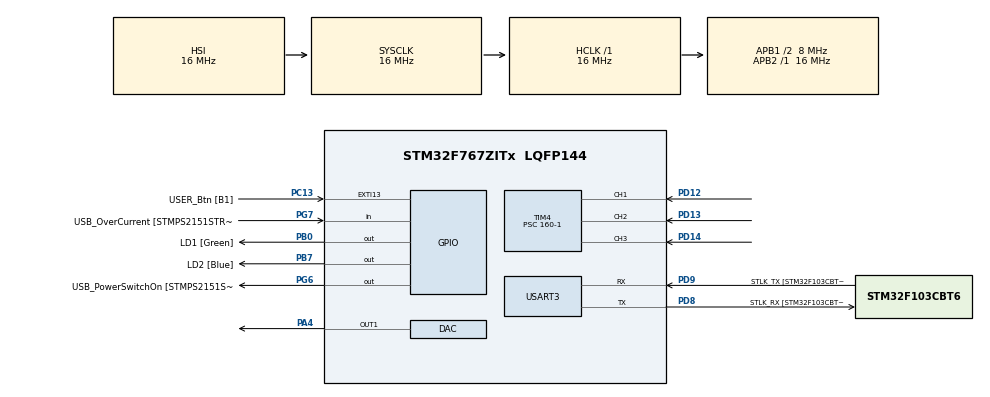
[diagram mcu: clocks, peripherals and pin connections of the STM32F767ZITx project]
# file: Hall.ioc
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Dma.Request0=TIM4_UP
Dma.TIM4_UP.0.Direction=DMA_PERIPH_TO_MEMORY
Dma.TIM4_UP.0.FIFOMode=DMA_FIFOMODE_DISABLE
Dma.TIM4_UP.0.Instance=DMA1_Stream6
Dma.TIM4_UP.0.MemDataAlignment=DMA_MDATAALIGN_HALFWORD
Dma.TIM4_UP.0.MemInc=DMA_MINC_ENABLE
Dma.TIM4_UP.0.Mode=DMA_CIRCULAR
Dma.TIM4_UP.0.PeriphDataAlignment=DMA_PDATAALIGN_HALFWORD
Dma.TIM4_UP.0.PeriphInc=DMA_PINC_DISABLE
Dma.TIM4_UP.0.Priority=DMA_PRIORITY_LOW
Mcu.Family=STM32F7
Mcu.Name=STM32F767ZITx
Mcu.Package=LQFP144
NVIC.DMA1_Stream6_IRQn=true\:0\:0\:false\:false\:true\:false\:true\:true
NVIC.EXTI15_10_IRQn=true\:0\:0\:false\:false\:true\:true\:true\:true
NVIC.PriorityGroup=NVIC_PRIORITYGROUP_4
NVIC.USART3_IRQn=true\:0\:0\:false\:false\:true\:true\:true\:true
PA1.GPIO_Label=RMII_REF_CLK [LAN8742A-CZ-TR_REFCLK0]
PA1.Signal=ETH_REF_CLK
PA10.GPIO_Label=USB_ID
PA10.Signal=USB_OTG_FS_ID
PA11.GPIO_Label=USB_DM
PA11.Signal=USB_OTG_FS_DM
PA12.GPIO_Label=USB_DP
PA12.Signal=USB_OTG_FS_DP
PA13.GPIO_Label=TMS
PA13.Mode=Serial_Wire
PA13.Signal=SYS_JTMS-SWDIO
PA14.GPIO_Label=TCK
PA14.Mode=Serial_Wire
PA14.Signal=SYS_JTCK-SWCLK
PA2.GPIO_Label=RMII_MDIO [LAN8742A-CZ-TR_MDIO]
PA2.Signal=ETH_MDIO
PA4.Signal=COMP_DAC1_group
PA7.GPIO_Label=RMII_CRS_DV [LAN8742A-CZ-TR_CRS_DV]
PA7.Signal=ETH_CRS_DV
PA8.GPIO_Label=USB_SOF [TP1]
PA8.Signal=USB_OTG_FS_SOF
PA9.GPIO_Label=USB_VBUS
PA9.Signal=USB_OTG_FS_VBUS
PB0.GPIO_Label=LD1 [Green]
PB0.Signal=GPIO_Output
PB13.GPIO_Label=RMII_TXD1 [LAN8742A-CZ-TR_TXD1]
PB13.Signal=ETH_TXD1
PB3.GPIO_Label=SW0
PB3.Signal=SYS_JTDO-SWO
PB7.GPIO_Label=LD2 [Blue]
PB7.Signal=GPIO_Output
PC1.GPIO_Label=RMII_MDC [LAN8742A-CZ-TR_MDC]
PC1.Signal=ETH_MDC
PC13.GPIO_Label=USER_Btn [B1]
PC13.GPIO_ModeDefaultEXTI=GPIO_MODE_IT_RISING
PC13.Signal=GPXTI13
PC14/OSC32_IN.Signal=RCC_OSC32_IN
PC15/OSC32_OUT.Signal=RCC_OSC32_OUT
PC4.GPIO_Label=RMII_RXD0 [LAN8742A-CZ-TR_RXD0]
PC4.Signal=ETH_RXD0
PC5.GPIO_Label=RMII_RXD1 [LAN8742A-CZ-TR_RXD1]
PC5.Signal=ETH_RXD1
PD12.GPIO_PuPd=GPIO_PULLUP
PD12.Signal=S_TIM4_CH1
PD13.GPIO_PuPd=GPIO_PULLUP
PD13.Signal=S_TIM4_CH2
PD14.GPIO_PuPd=GPIO_PULLUP
PD14.Signal=S_TIM4_CH3
PD8.GPIO_Label=STLK_RX [STM32F103CBT6_PA3]
PD8.Mode=Asynchronous
PD8.Signal=USART3_TX
PD9.GPIO_Label=STLK_TX [STM32F103CBT6_PA2]
PD9.Mode=Asynchronous
PD9.Signal=USART3_RX
PG11.GPIO_Label=RMII_TX_EN [LAN8742A-CZ-TR_TXEN]
PG11.Signal=ETH_TX_EN
PG13.GPIO_Label=RMII_TXD0 [LAN8742A-CZ-TR_TXD0]
PG13.Signal=ETH_TXD0
PG6.GPIO_Label=USB_PowerSwitchOn [STMPS2151STR_EN]
PG6.Signal=GPIO_Output
PG7.GPIO_Label=USB_OverCurrent [STMPS2151STR_FAULT]
PG7.Signal=GPIO_Input
PH0/OSC_IN.GPIO_Label=MCO [STM32F103CBT6_PA8]
PH0/OSC_IN.Signal=RCC_OSC_IN
PH1/OSC_OUT.Signal=RCC_OSC_OUT
ProjectManager.HeapSize=0x200
ProjectManager.StackSize=0x400
ProjectManager.TargetToolchain=STM32CubeIDE
RCC.48MHZClocksFreq_Value=24000000
RCC.AHBFreq_Value=16000000
RCC.APB1CLKDivider=RCC_HCLK_DIV2
RCC.APB1Freq_Value=8000000
RCC.APB1TimFreq_Value=16000000
RCC.APB2Freq_Value=16000000
RCC.APB2TimFreq_Value=16000000
RCC.CortexFreq_Value=16000000
RCC.HCLKFreq_Value=16000000
RCC.HSE_VALUE=16000000
RCC.HSI_VALUE=16000000
RCC.LSE_VALUE=32768
RCC.PLLMUL=RCC_PLL_MUL9
RCC.PRESCALERUSB=RCC_USBCLKSOURCE_PLL_DIV1_5
RCC.SYSCLKFreq_VALUE=16000000
RCC.SYSCLKSourceVirtual=RCC_SYSCLKSOURCE_PLLCLK
RCC.USBFreq_Value=96000000
RCC.VCOOutputFreq_Value=192000000
SH.COMP_DAC1_group.0=DAC_OUT1,DAC_OUT1
SH.S_TIM4_CH1.0=TIM4_CH1,Xored_Inputs_Hall_Sensor_Interface
SH.S_TIM4_CH2.0=TIM4_CH2,Xored_Inputs_Hall_Sensor_Interface
SH.S_TIM4_CH3.0=TIM4_CH3,Xored_Inputs_Hall_Sensor_Interface
TIM4.IC1Filter=15
TIM4.IC1Polarity=TIM_ICPOLARITY_FALLING
TIM4.Prescaler=160-1
USART3.VirtualMode-Asynchronous=VM_ASYNC
board=NUCLEO-F767ZI

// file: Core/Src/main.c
/* USER CODE BEGIN Header */
/**
 ******************************************************************************
 * @file           : main.c
 * @brief          : Main program body
 ******************************************************************************
 * @attention
 *
 * Copyright (c) 2022 STMicroelectronics.
 * All rights reserved.
 *
 * This software is licensed under terms that can be found in the LICENSE file
 * in the root directory of this software component.
 * If no LICENSE file comes with this software, it is provided AS-IS.
 *
 ******************************************************************************
 */
/* USER CODE END Header */
#include "main.h"

DAC_HandleTypeDef hdac;

TIM_HandleTypeDef htim4;
DMA_HandleTypeDef hdma_tim4_up;

UART_HandleTypeDef huart3;

void SystemClock_Config(void);
static void MX_GPIO_Init(void);
static void MX_USART3_UART_Init(void);
static void MX_DMA_Init(void);
static void MX_TIM4_Init(void);
static void MX_DAC_Init(void);

/* USER CODE BEGIN 0 */

#ifdef __GNUC__
#define PUTCHAR_PROTOTYPE int __io_putchar(int ch)
#else
#define PUTCHAR_PROTOTYPE int fputc(int ch, FILE *f)
#endif

PUTCHAR_PROTOTYPE {
	if (ch == '\n')
		HAL_UART_Transmit(&huart3, (uint8_t*) "\r", 1, 0xFFFF);
	HAL_UART_Transmit(&huart3, (uint8_t*) &ch, 1, 0xFFFF);
	return ch;
} //for printf

/* USER CODE END 0 */

int main(void)
{
  /* USER CODE BEGIN 1 */
	uint8_t pwm = 23;
	uint16_t speed = 0;
  /* USER CODE END 1 */

  /* MCU Configuration--------------------------------------------------------*/

  /* Reset of all peripherals, Initializes the Flash interface and the Systick. */
  HAL_Init();

  /* Configure the system clock */
  SystemClock_Config();

  /* Initialize all configured peripherals */
  MX_GPIO_Init();
  MX_USART3_UART_Init();
  MX_DMA_Init();
  MX_TIM4_Init();
  MX_DAC_Init();
  /* USER CODE BEGIN 2 */

	uint32_t period[2] = { 0, };
	int status;
	HAL_DAC_Start(&hdac, DAC_CHANNEL_1);
	status = HAL_TIMEx_HallSensor_Start_DMA(&htim4, (uint32_t*) period, 1);

//	uint32_t *pData, uint16_t Length
  /* USER CODE END 2 */

  /* Infinite loop */
  /* USER CODE BEGIN WHILE */
	while (1) {
		if (speed < 3000) {
//			for (int i = 0; i < pwm; i++) {
//				speed = i * 100;
//				HAL_DAC_SetValue(&hdac, DAC_CHANNEL_1, DAC_ALIGN_12B_R, speed);
//				printf("speed set : %d\r\n", speed);
//				HAL_Delay(100);
//			}

			speed += 1;
			HAL_DAC_SetValue(&hdac, DAC_CHANNEL_1, DAC_ALIGN_12B_R, speed);
		} //set speed but it need to change when hall clock is detected.

		printf("CNT :  %6d CCR1: %6d Period: %6d\r\n", TIM4->CNT, TIM4->CCR1,
				period[0]);
	}

    /* USER CODE END WHILE */

}

void SystemClock_Config(void)
{
  RCC_OscInitTypeDef RCC_OscInitStruct = {0};
  RCC_ClkInitTypeDef RCC_ClkInitStruct = {0};

  /** Configure the main internal regulator output voltage
  */
  __HAL_RCC_PWR_CLK_ENABLE();
  __HAL_PWR_VOLTAGESCALING_CONFIG(PWR_REGULATOR_VOLTAGE_SCALE3);

  /** Initializes the RCC Oscillators according to the specified parameters
  * in the RCC_OscInitTypeDef structure.
  */
  RCC_OscInitStruct.OscillatorType = RCC_OSCILLATORTYPE_HSI;
  RCC_OscInitStruct.HSIState = RCC_HSI_ON;
  RCC_OscInitStruct.HSICalibrationValue = RCC_HSICALIBRATION_DEFAULT;
  RCC_OscInitStruct.PLL.PLLState = RCC_PLL_NONE;
  if (HAL_RCC_OscConfig(&RCC_OscInitStruct) != HAL_OK)
  {
    Error_Handler();
  }

  /** Initializes the CPU, AHB and APB buses clocks
  */
  RCC_ClkInitStruct.ClockType = RCC_CLOCKTYPE_HCLK|RCC_CLOCKTYPE_SYSCLK
                              |RCC_CLOCKTYPE_PCLK1|RCC_CLOCKTYPE_PCLK2;
  RCC_ClkInitStruct.SYSCLKSource = RCC_SYSCLKSOURCE_HSI;
  RCC_ClkInitStruct.AHBCLKDivider = RCC_SYSCLK_DIV1;
  RCC_ClkInitStruct.APB1CLKDivider = RCC_HCLK_DIV2;
  RCC_ClkInitStruct.APB2CLKDivider = RCC_HCLK_DIV1;

  if (HAL_RCC_ClockConfig(&RCC_ClkInitStruct, FLASH_LATENCY_0) != HAL_OK)
  {
    Error_Handler();
  }
}

static void MX_DAC_Init(void)
{

  DAC_ChannelConfTypeDef sConfig = {0};

  /** DAC Initialization
  */
  hdac.Instance = DAC;
  if (HAL_DAC_Init(&hdac) != HAL_OK)
  {
    Error_Handler();
  }

  /** DAC channel OUT1 config
  */
  sConfig.DAC_Trigger = DAC_TRIGGER_NONE;
  sConfig.DAC_OutputBuffer = DAC_OUTPUTBUFFER_ENABLE;
  if (HAL_DAC_ConfigChannel(&hdac, &sConfig, DAC_CHANNEL_1) != HAL_OK)
  {
    Error_Handler();
  }

}

static void MX_TIM4_Init(void)
{

  TIM_HallSensor_InitTypeDef sConfig = {0};
  TIM_MasterConfigTypeDef sMasterConfig = {0};

  htim4.Instance = TIM4;
  htim4.Init.Prescaler = 160-1;
  htim4.Init.CounterMode = TIM_COUNTERMODE_UP;
  htim4.Init.Period = 65535;
  htim4.Init.ClockDivision = TIM_CLOCKDIVISION_DIV1;
  htim4.Init.AutoReloadPreload = TIM_AUTORELOAD_PRELOAD_DISABLE;
  sConfig.IC1Polarity = TIM_ICPOLARITY_FALLING;
  sConfig.IC1Prescaler = TIM_ICPSC_DIV1;
  sConfig.IC1Filter = 15;
  sConfig.Commutation_Delay = 0;
  if (HAL_TIMEx_HallSensor_Init(&htim4, &sConfig) != HAL_OK)
  {
    Error_Handler();
  }
  sMasterConfig.MasterOutputTrigger = TIM_TRGO_OC2REF;
  sMasterConfig.MasterSlaveMode = TIM_MASTERSLAVEMODE_DISABLE;
  if (HAL_TIMEx_MasterConfigSynchronization(&htim4, &sMasterConfig) != HAL_OK)
  {
    Error_Handler();
  }

}

static void MX_USART3_UART_Init(void)
{

  huart3.Instance = USART3;
  huart3.Init.BaudRate = 115200;
  huart3.Init.WordLength = UART_WORDLENGTH_8B;
  huart3.Init.StopBits = UART_STOPBITS_1;
  huart3.Init.Parity = UART_PARITY_NONE;
  huart3.Init.Mode = UART_MODE_TX_RX;
  huart3.Init.HwFlowCtl = UART_HWCONTROL_NONE;
  huart3.Init.OverSampling = UART_OVERSAMPLING_16;
  huart3.Init.OneBitSampling = UART_ONE_BIT_SAMPLE_DISABLE;
  huart3.AdvancedInit.AdvFeatureInit = UART_ADVFEATURE_NO_INIT;
  if (HAL_UART_Init(&huart3) != HAL_OK)
  {
    Error_Handler();
  }

}

static void MX_DMA_Init(void)
{

  /* DMA controller clock enable */
  __HAL_RCC_DMA1_CLK_ENABLE();

  /* DMA interrupt init */
  /* DMA1_Stream6_IRQn interrupt configuration */
  HAL_NVIC_SetPriority(DMA1_Stream6_IRQn, 0, 0);
  HAL_NVIC_EnableIRQ(DMA1_Stream6_IRQn);

}

static void MX_GPIO_Init(void)
{
  GPIO_InitTypeDef GPIO_InitStruct = {0};

  /* GPIO Ports Clock Enable */
  __HAL_RCC_GPIOC_CLK_ENABLE();
  __HAL_RCC_GPIOH_CLK_ENABLE();
  __HAL_RCC_GPIOA_CLK_ENABLE();
  __HAL_RCC_GPIOB_CLK_ENABLE();
  __HAL_RCC_GPIOD_CLK_ENABLE();
  __HAL_RCC_GPIOG_CLK_ENABLE();

  /*Configure GPIO pin Output Level */
  HAL_GPIO_WritePin(GPIOB, LD1_Pin|LD2_Pin, GPIO_PIN_RESET);

  /*Configure GPIO pin Output Level */
  HAL_GPIO_WritePin(USB_PowerSwitchOn_GPIO_Port, USB_PowerSwitchOn_Pin, GPIO_PIN_RESET);

  /*Configure GPIO pin : USER_Btn_Pin */
  GPIO_InitStruct.Pin = USER_Btn_Pin;
  GPIO_InitStruct.Mode = GPIO_MODE_IT_RISING;
  GPIO_InitStruct.Pull = GPIO_NOPULL;
  HAL_GPIO_Init(USER_Btn_GPIO_Port, &GPIO_InitStruct);

  /*Configure GPIO pins : RMII_MDC_Pin RMII_RXD0_Pin RMII_RXD1_Pin */
  GPIO_InitStruct.Pin = RMII_MDC_Pin|RMII_RXD0_Pin|RMII_RXD1_Pin;
  GPIO_InitStruct.Mode = GPIO_MODE_AF_PP;
  GPIO_InitStruct.Pull = GPIO_NOPULL;
  GPIO_InitStruct.Speed = GPIO_SPEED_FREQ_VERY_HIGH;
  GPIO_InitStruct.Alternate = GPIO_AF11_ETH;
  HAL_GPIO_Init(GPIOC, &GPIO_InitStruct);

  /*Configure GPIO pins : RMII_REF_CLK_Pin RMII_MDIO_Pin RMII_CRS_DV_Pin */
  GPIO_InitStruct.Pin = RMII_REF_CLK_Pin|RMII_MDIO_Pin|RMII_CRS_DV_Pin;
  GPIO_InitStruct.Mode = GPIO_MODE_AF_PP;
  GPIO_InitStruct.Pull = GPIO_NOPULL;
  GPIO_InitStruct.Speed = GPIO_SPEED_FREQ_VERY_HIGH;
  GPIO_InitStruct.Alternate = GPIO_AF11_ETH;
  HAL_GPIO_Init(GPIOA, &GPIO_InitStruct);

  /*Configure GPIO pins : LD1_Pin LD2_Pin */
  GPIO_InitStruct.Pin = LD1_Pin|LD2_Pin;
  GPIO_InitStruct.Mode = GPIO_MODE_OUTPUT_PP;
  GPIO_InitStruct.Pull = GPIO_NOPULL;
  GPIO_InitStruct.Speed = GPIO_SPEED_FREQ_LOW;
  HAL_GPIO_Init(GPIOB, &GPIO_InitStruct);

  /*Configure GPIO pin : RMII_TXD1_Pin */
  GPIO_InitStruct.Pin = RMII_TXD1_Pin;
  GPIO_InitStruct.Mode = GPIO_MODE_AF_PP;
  GPIO_InitStruct.Pull = GPIO_NOPULL;
  GPIO_InitStruct.Speed = GPIO_SPEED_FREQ_VERY_HIGH;
  GPIO_InitStruct.Alternate = GPIO_AF11_ETH;
  HAL_GPIO_Init(RMII_TXD1_GPIO_Port, &GPIO_InitStruct);

  /*Configure GPIO pin : USB_PowerSwitchOn_Pin */
  GPIO_InitStruct.Pin = USB_PowerSwitchOn_Pin;
  GPIO_InitStruct.Mode = GPIO_MODE_OUTPUT_PP;
  GPIO_InitStruct.Pull = GPIO_NOPULL;
  GPIO_InitStruct.Speed = GPIO_SPEED_FREQ_LOW;
  HAL_GPIO_Init(USB_PowerSwitchOn_GPIO_Port, &GPIO_InitStruct);

  /*Configure GPIO pin : USB_OverCurrent_Pin */
  GPIO_InitStruct.Pin = USB_OverCurrent_Pin;
  GPIO_InitStruct.Mode = GPIO_MODE_INPUT;
  GPIO_InitStruct.Pull = GPIO_NOPULL;
  HAL_GPIO_Init(USB_OverCurrent_GPIO_Port, &GPIO_InitStruct);

  /*Configure GPIO pins : USB_SOF_Pin USB_ID_Pin USB_DM_Pin USB_DP_Pin */
  GPIO_InitStruct.Pin = USB_SOF_Pin|USB_ID_Pin|USB_DM_Pin|USB_DP_Pin;
  GPIO_InitStruct.Mode = GPIO_MODE_AF_PP;
  GPIO_InitStruct.Pull = GPIO_NOPULL;
  GPIO_InitStruct.Speed = GPIO_SPEED_FREQ_VERY_HIGH;
  GPIO_InitStruct.Alternate = GPIO_AF10_OTG_FS;
  HAL_GPIO_Init(GPIOA, &GPIO_InitStruct);

  /*Configure GPIO pin : USB_VBUS_Pin */
  GPIO_InitStruct.Pin = USB_VBUS_Pin;
  GPIO_InitStruct.Mode = GPIO_MODE_INPUT;
  GPIO_InitStruct.Pull = GPIO_NOPULL;
  HAL_GPIO_Init(USB_VBUS_GPIO_Port, &GPIO_InitStruct);

  /*Configure GPIO pins : RMII_TX_EN_Pin RMII_TXD0_Pin */
  GPIO_InitStruct.Pin = RMII_TX_EN_Pin|RMII_TXD0_Pin;
  GPIO_InitStruct.Mode = GPIO_MODE_AF_PP;
  GPIO_InitStruct.Pull = GPIO_NOPULL;
  GPIO_InitStruct.Speed = GPIO_SPEED_FREQ_VERY_HIGH;
  GPIO_InitStruct.Alternate = GPIO_AF11_ETH;
  HAL_GPIO_Init(GPIOG, &GPIO_InitStruct);

  /* EXTI interrupt init*/
  HAL_NVIC_SetPriority(EXTI15_10_IRQn, 0, 0);
  HAL_NVIC_EnableIRQ(EXTI15_10_IRQn);

}

void Error_Handler(void)
{
	__disable_irq();
	while (1) {
	}
}
